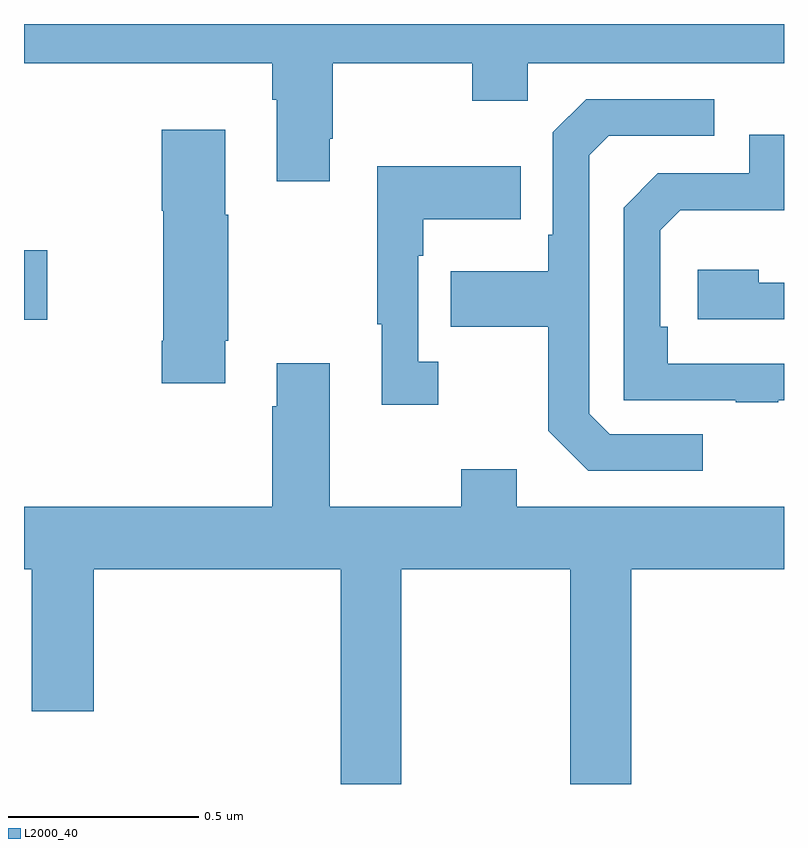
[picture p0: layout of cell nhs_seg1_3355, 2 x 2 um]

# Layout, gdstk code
import gdstk
lib = gdstk.Library(unit=1e-6, precision=1e-09)
def R(c, l, rs):  # rectangles x0, y0, x1, y1
    for r in rs: c.add(gdstk.rectangle(r[:2], r[2:], *l))
def P(c, l, *ps):  # polygons
    for p in ps: c.add(gdstk.Polygon(p, *l))
L2000_40 = (2000, 40)

nhs_seg1_3355 = lib.new_cell('nhs_seg1_3355')
R(nhs_seg1_3355, L2000_40, [(153,520.421,153.061,520.604)])
P(nhs_seg1_3355, L2000_40, [(153,521.096),(153.653,521.096),(153.653,521),(153.665,521),(153.665,520.785),(153.805,520.785),(153.805,520.897),(153.813,520.897),(153.813,521.096),(154.18,521.096),(154.18,520.997),(154.326,520.997),(154.326,521.096),(155,521.096),(155,521.199),(153,521.199)],
  [(154.786,520.119),(154.542,520.119),(154.488,520.173),(154.488,520.854),(154.539,520.905),(154.816,520.905),(154.816,521.001),(154.479,521.001),(154.392,520.914),(154.392,520.645),(154.38,520.645),(154.38,520.549),(154.123,520.549),(154.123,520.402),(154.38,520.402),(154.38,520.129),(154.485,520.023),(154.786,520.023)],
  [(153.529,520.366),(153.537,520.366),(153.537,520.697),(153.529,520.697),(153.529,520.921),(153.362,520.921),(153.362,520.708),(153.367,520.708),(153.367,520.366),(153.362,520.366),(153.362,520.254),(153.529,520.254)],
  [(154.985,520.209),(155,520.209),(155,520.305),(154.694,520.305),(154.694,520.402),(154.674,520.402),(154.674,520.656),(154.727,520.709),(155,520.709),(155,520.908),(154.908,520.908),(154.908,520.806),(154.668,520.806),(154.578,520.716),(154.578,520.209),(154.873,520.209),(154.873,520.204),(154.985,520.204)],
  [(154.09,520.31),(154.038,520.31),(154.038,520.589),(154.051,520.589),(154.051,520.685),(154.307,520.685),(154.307,520.825),(153.93,520.825),(153.93,520.409),(153.941,520.409),(153.941,520.197),(154.09,520.197)],
  [(155,520.518),(154.934,520.518),(154.934,520.552),(154.773,520.552),(154.773,520.422),(155,520.422)],
  [(153.993,519.764),(154.438,519.764),(154.438,519.199),(154.598,519.199),(154.598,519.764),(155,519.764),(155,519.928),(154.297,519.928),(154.297,520.027),(154.15,520.027),(154.15,519.928),(153.805,519.928),(153.805,520.306),(153.665,520.306),(153.665,520.193),(153.653,520.193),(153.653,519.928),(153,519.928),(153,519.764),(153.02,519.764),(153.02,519.39),(153.184,519.39),(153.184,519.764),(153.833,519.764),(153.833,519.199),(153.993,519.199)])

lib.write_gds('nhs_seg1_3355.gds')
